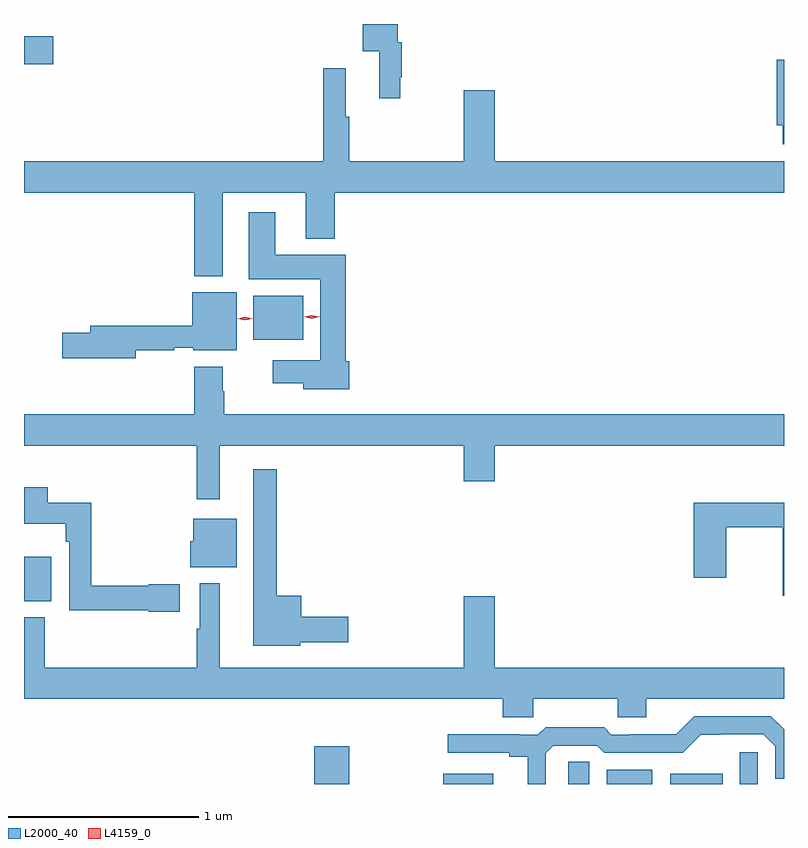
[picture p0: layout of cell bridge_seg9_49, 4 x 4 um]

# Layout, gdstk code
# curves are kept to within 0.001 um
import gdstk
lib = gdstk.Library(unit=1e-6, precision=1e-09)
def R(c, l, rs):  # rectangles x0, y0, x1, y1
    for r in rs: c.add(gdstk.rectangle(r[:2], r[2:], *l))
def P(c, l, *ps):  # polygons
    for p in ps: c.add(gdstk.Polygon(p, *l))
L2000_40 = (2000, 40)
L4159_0 = (4159, 0)

bridge_seg9_49 = lib.new_cell('bridge_seg9_49')
R(bridge_seg9_49, L2000_40, [(907.478,1185.315,907.661,1185.514), (908.156,1185.315,908.419,1185.37), (908.814,1185.315,908.926,1185.431), (909.017,1185.315,909.256,1185.391), (909.35,1185.315,909.628,1185.37), (909.717,1185.315,909.813,1185.481), (905.95,1186.277,906.094,1186.51), (907.157,1187.654,907.42,1187.884), (905.95,1189.103,906.103,1189.25)])
P(bridge_seg9_49, L2000_40, [(907.93,1189.036),(907.937,1189.036),(907.937,1189.22),(907.917,1189.22),(907.917,1189.315),(907.734,1189.315),(907.734,1189.172),(907.82,1189.172),(907.82,1188.924),(907.93,1188.924)],
  [(909.95,1189.126),(909.911,1189.126),(909.911,1188.782),(909.944,1188.782),(909.944,1188.683),(909.95,1188.683)],
  [(906.997,1188.428),(907.433,1188.428),(907.433,1188.185),(907.586,1188.185),(907.586,1188.428),(909.95,1188.428),(909.95,1188.592),(908.428,1188.592),(908.428,1188.967),(908.264,1188.967),(908.264,1188.592),(907.661,1188.592),(907.661,1188.828),(907.643,1188.828),(907.643,1189.081),(907.525,1189.081),(907.525,1188.592),(905.95,1188.592),(905.95,1188.428),(906.845,1188.428),(906.845,1187.987),(906.997,1187.987)],
  [(907.661,1187.541),(907.643,1187.541),(907.643,1188.1),(907.273,1188.1),(907.273,1188.325),(907.133,1188.325),(907.133,1187.972),(907.508,1187.972),(907.508,1187.545),(907.26,1187.545),(907.26,1187.423),(907.421,1187.423),(907.421,1187.393),(907.661,1187.393)],
  [(906.538,1187.598),(906.74,1187.598),(906.74,1187.61),(906.84,1187.61),(906.84,1187.597),(907.069,1187.597),(907.069,1187.902),(906.836,1187.902),(906.836,1187.726),(906.299,1187.726),(906.299,1187.69),(906.15,1187.69),(906.15,1187.555),(906.538,1187.555)],
  [(906.979,1187.096),(908.264,1187.096),(908.264,1186.908),(908.428,1186.908),(908.428,1187.096),(909.95,1187.096),(909.95,1187.26),(907.005,1187.26),(907.005,1187.381),(906.997,1187.381),(906.997,1187.512),(906.845,1187.512),(906.845,1187.26),(905.95,1187.26),(905.95,1187.096),(906.858,1187.096),(906.858,1186.815),(906.979,1186.815)],
  [(907.404,1186.061),(907.657,1186.061),(907.657,1186.196),(907.408,1186.196),(907.408,1186.306),(907.279,1186.306),(907.279,1186.972),(907.157,1186.972),(907.157,1186.043),(907.404,1186.043)],
  [(906.769,1186.366),(906.606,1186.366),(906.606,1186.358),(906.305,1186.358),(906.305,1186.795),(906.074,1186.795),(906.074,1186.876),(905.95,1186.876),(905.95,1186.685),(906.169,1186.685),(906.169,1186.589),(906.189,1186.589),(906.189,1186.23),(906.606,1186.23),(906.606,1186.222),(906.769,1186.222)],
  [(909.95,1186.795),(909.476,1186.795),(909.476,1186.401),(909.646,1186.401),(909.646,1186.666),(909.944,1186.666),(909.944,1186.307),(909.95,1186.307)],
  [(907.069,1186.711),(906.842,1186.711),(906.842,1186.593),(906.824,1186.593),(906.824,1186.457),(907.069,1186.457)],
  [(908.471,1185.666),(908.631,1185.666),(908.631,1185.764),(909.076,1185.764),(909.076,1185.666),(909.226,1185.666),(909.226,1185.764),(909.95,1185.764),(909.95,1185.928),(908.428,1185.928),(908.428,1186.303),(908.264,1186.303),(908.264,1185.928),(906.979,1185.928),(906.979,1186.372),(906.875,1186.372),(906.875,1186.133),(906.858,1186.133),(906.858,1185.928),(906.059,1185.928),(906.059,1186.192),(905.95,1186.192),(905.95,1185.764),(908.471,1185.764)],
  [(908.697,1185.477),(908.736,1185.516),(908.967,1185.516),(909.003,1185.48),(909.417,1185.48),(909.512,1185.575),(909.84,1185.576),(909.903,1185.513),(909.903,1185.342),(909.95,1185.342),(909.95,1185.603),(909.88,1185.672),(909.477,1185.672),(909.383,1185.578),(909.142,1185.578),(909.142,1185.573),(909.042,1185.573),(909.003,1185.613),(908.695,1185.613),(908.655,1185.573),(908.561,1185.573),(908.561,1185.578),(908.181,1185.578),(908.181,1185.48),(908.504,1185.48),(908.504,1185.458),(908.6,1185.458),(908.6,1185.315),(908.697,1185.315)])
P(bridge_seg9_49, L4159_0, [(907.464,1187.763),(907.424,1187.773),(907.423,1187.773),(907.424,1187.773),(907.464,1187.783),(907.505,1187.773),(907.506,1187.773),(907.505,1187.773)],
  [(907.114,1187.755),(907.075,1187.765),(907.075,1187.765),(907.075,1187.765),(907.114,1187.775),(907.152,1187.765),(907.152,1187.765),(907.152,1187.765)])

lib.write_gds('bridge_seg9_49.gds')
